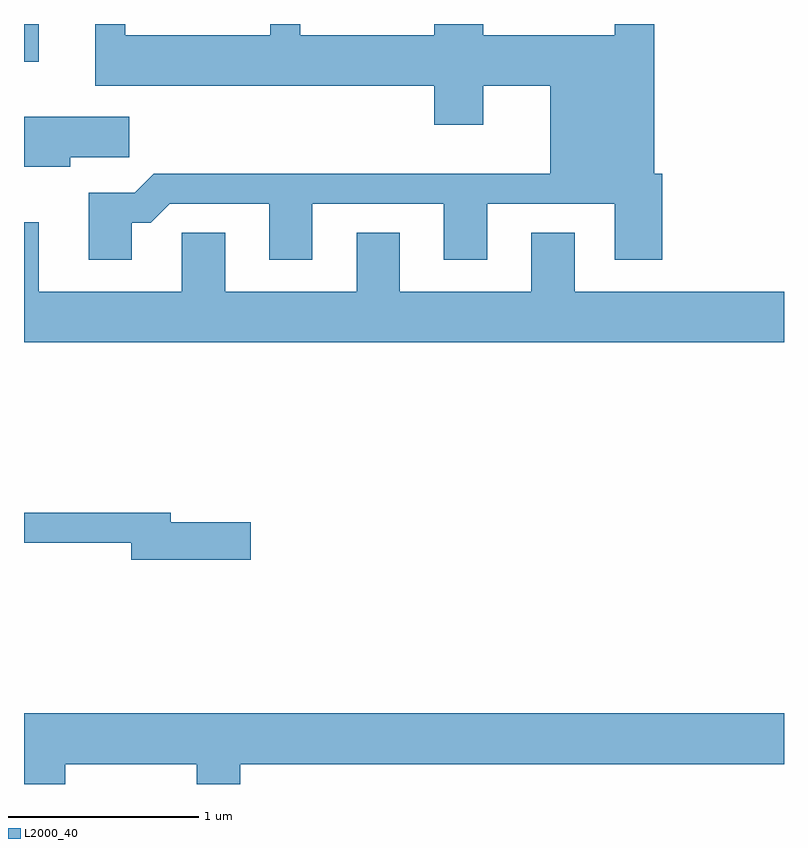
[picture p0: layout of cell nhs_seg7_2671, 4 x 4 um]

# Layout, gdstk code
import gdstk
lib = gdstk.Library(unit=1e-6, precision=1e-09)
def R(c, l, rs):  # rectangles x0, y0, x1, y1
    for r in rs: c.add(gdstk.rectangle(r[:2], r[2:], *l))
def P(c, l, *ps):  # polygons
    for p in ps: c.add(gdstk.Polygon(p, *l))
L2000_40 = (2000, 40)

nhs_seg7_2671 = lib.new_cell('nhs_seg7_2671')
R(nhs_seg7_2671, L2000_40, [(267.611,1678.053,267.689,1678.252)])
P(nhs_seg7_2671, L2000_40, [(268.179,1677.206),(268.277,1677.206),(268.377,1677.306),(268.901,1677.306),(268.901,1677.011),(269.129,1677.011),(269.129,1677.306),(269.821,1677.306),(269.821,1677.011),(270.049,1677.011),(270.049,1677.306),(270.721,1677.306),(270.721,1677.011),(270.969,1677.011),(270.969,1677.464),(270.929,1677.464),(270.929,1678.252),(270.721,1678.252),(270.721,1678.194),(270.029,1678.194),(270.029,1678.252),(269.771,1678.252),(269.771,1678.194),(269.064,1678.194),(269.064,1678.252),(268.906,1678.252),(268.906,1678.194),(268.144,1678.194),(268.144,1678.252),(267.986,1678.252),(267.986,1677.926),(269.771,1677.926),(269.771,1677.721),(270.029,1677.721),(270.029,1677.926),(270.381,1677.926),(270.381,1677.464),(268.294,1677.464),(268.194,1677.364),(267.951,1677.364),(267.951,1677.011),(268.179,1677.011)],
  [(267.854,1677.551),(268.164,1677.551),(268.164,1677.764),(267.611,1677.764),(267.611,1677.501),(267.854,1677.501)],
  [(271.611,1676.844),(270.509,1676.844),(270.509,1677.154),(270.281,1677.154),(270.281,1676.844),(269.589,1676.844),(269.589,1677.154),(269.361,1677.154),(269.361,1676.844),(268.669,1676.844),(268.669,1677.154),(268.441,1677.154),(268.441,1676.844),(267.689,1676.844),(267.689,1677.208),(267.611,1677.208),(267.611,1676.576),(271.611,1676.576)],
  [(268.804,1675.629),(268.384,1675.629),(268.384,1675.679),(267.611,1675.679),(267.611,1675.521),(268.176,1675.521),(268.176,1675.431),(268.804,1675.431)],
  [(267.829,1674.356),(268.521,1674.356),(268.521,1674.252),(268.749,1674.252),(268.749,1674.356),(271.611,1674.356),(271.611,1674.624),(267.611,1674.624),(267.611,1674.252),(267.829,1674.252)])

lib.write_gds('nhs_seg7_2671.gds')
